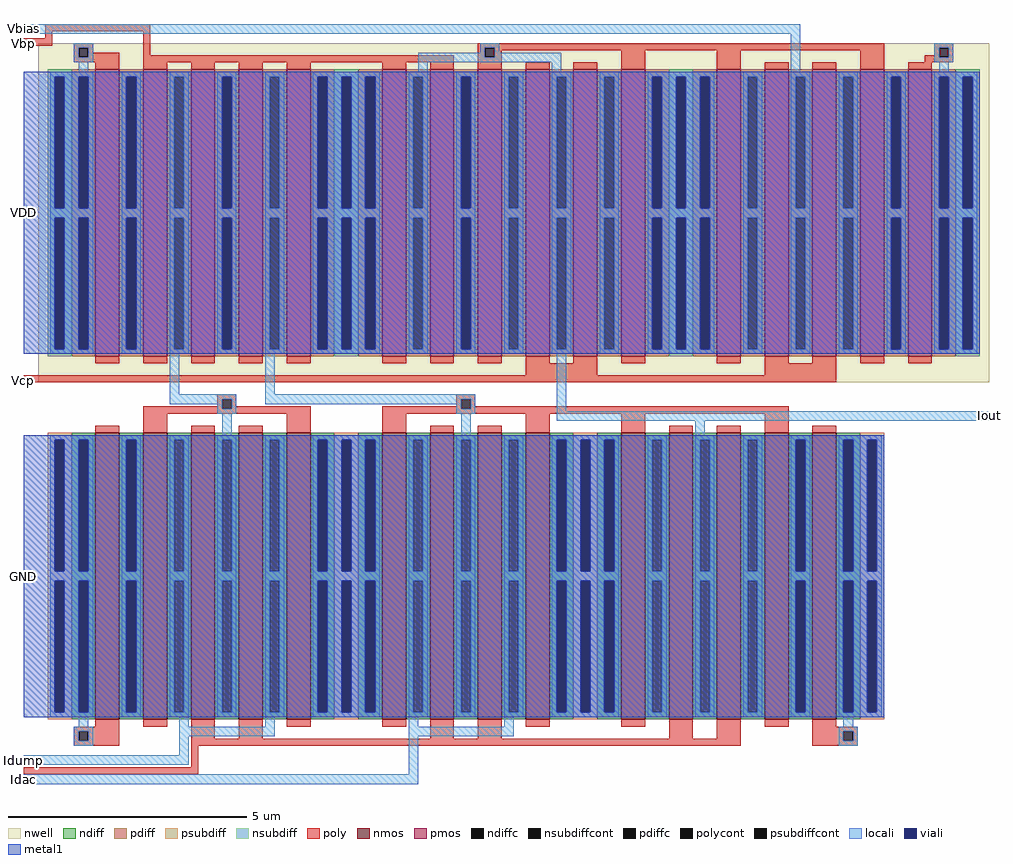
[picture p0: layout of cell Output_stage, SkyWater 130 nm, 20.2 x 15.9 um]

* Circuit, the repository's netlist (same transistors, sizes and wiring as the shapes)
* NGSPICE file created from Output_stage.ext - technology: sky130A


X0 a_2320_n30# a_720_1490# GND GND sky130_fd_pr__nfet_01v8 ad=1.5 pd=6.5 as=3 ps=13 w=6 l=0.5
X1 Idac Vbn a_720_1490# GND sky130_fd_pr__nfet_01v8 ad=1.5 pd=6.5 as=1.5 ps=6.5 w=6 l=0.5
X2 GND GND GND GND sky130_fd_pr__nfet_01v8 ad=3 pd=13 as=24 ps=104 w=6 l=0.5
X3 a_3120_1490# Vcp Vbias VDD sky130_fd_pr__pfet_01v8 ad=1.5 pd=6.5 as=1.5 ps=6.5 w=6 l=0.5
X4 Idump a_220_n60# GND GND sky130_fd_pr__nfet_01v8 ad=1.5 pd=6.5 as=1.5 ps=6.5 w=6 l=0.5
X5 VDD VDD VDD VDD sky130_fd_pr__pfet_01v8 ad=1.5 pd=6.5 as=30 ps=130 w=6 l=0.5
X6 GND a_720_1490# a_2720_n30# GND sky130_fd_pr__nfet_01v8 ad=1.5 pd=6.5 as=1.5 ps=6.5 w=6 l=0.5
X7 a_2120_1490# Vcp Iout VDD sky130_fd_pr__pfet_01v8 ad=1.5 pd=6.5 as=1.5 ps=6.5 w=6 l=0.5
X8 Idac a_720_1490# GND GND sky130_fd_pr__nfet_01v8 ad=1.5 pd=6.5 as=3 ps=13 w=6 l=0.5
X9 a_220_n60# Vbp VDD VDD sky130_fd_pr__pfet_01v8 ad=1.5 pd=6.5 as=1.5 ps=6.5 w=6 l=0.5
X10 Vbias Vcp a_2720_1490# VDD sky130_fd_pr__pfet_01v8 ad=1.5 pd=6.5 as=1.5 ps=6.5 w=6 l=0.5
X11 a_720_1490# Vbp VDD VDD sky130_fd_pr__pfet_01v8 ad=1.5 pd=6.5 as=1.5 ps=6.5 w=6 l=0.5
X12 GND a_220_n60# Idump GND sky130_fd_pr__nfet_01v8 ad=3 pd=13 as=1.5 ps=6.5 w=6 l=0.5
X13 GND GND GND GND sky130_fd_pr__nfet_01v8 ad=1.5 pd=6.5 as=0 ps=0 w=6 l=0.5
X14 VDD Vbp Iout VDD sky130_fd_pr__pfet_01v8 ad=1.5 pd=6.5 as=1.5 ps=6.5 w=6 l=0.5
X15 Iout Vcp a_1720_1490# VDD sky130_fd_pr__pfet_01v8 ad=1.5 pd=6.5 as=1.5 ps=6.5 w=6 l=0.5
X16 Iout Vbn a_2320_n30# GND sky130_fd_pr__nfet_01v8 ad=1.5 pd=6.5 as=1.5 ps=6.5 w=6 l=0.5
X17 GND a_720_1490# Idac GND sky130_fd_pr__nfet_01v8 ad=3 pd=13 as=1.5 ps=6.5 w=6 l=0.5
X18 VDD VDD VDD VDD sky130_fd_pr__pfet_01v8 ad=3 pd=13 as=0 ps=0 w=6 l=0.5
X19 a_220_n60# Vbn Idump GND sky130_fd_pr__nfet_01v8 ad=1.5 pd=6.5 as=1.5 ps=6.5 w=6 l=0.5
X20 a_720_1490# Vbn Idac GND sky130_fd_pr__nfet_01v8 ad=1.5 pd=6.5 as=1.5 ps=6.5 w=6 l=0.5
X21 VDD Iout a_3120_1490# VDD sky130_fd_pr__pfet_01v8 ad=1.5 pd=6.5 as=1.5 ps=6.5 w=6 l=0.5
X22 VDD Iout a_2120_1490# VDD sky130_fd_pr__pfet_01v8 ad=3 pd=13 as=1.5 ps=6.5 w=6 l=0.5
X23 a_2720_1490# Iout VDD VDD sky130_fd_pr__pfet_01v8 ad=1.5 pd=6.5 as=3 ps=13 w=6 l=0.5
X24 a_2720_n30# Vbn Iout GND sky130_fd_pr__nfet_01v8 ad=1.5 pd=6.5 as=1.5 ps=6.5 w=6 l=0.5
X25 VDD Vbp a_220_n60# VDD sky130_fd_pr__pfet_01v8 ad=1.5 pd=6.5 as=1.5 ps=6.5 w=6 l=0.5
X26 VDD Vbp a_720_1490# VDD sky130_fd_pr__pfet_01v8 ad=3 pd=13 as=1.5 ps=6.5 w=6 l=0.5
X27 Iout Vbp VDD VDD sky130_fd_pr__pfet_01v8 ad=1.5 pd=6.5 as=3 ps=13 w=6 l=0.5
X28 a_1720_1490# Iout VDD VDD sky130_fd_pr__pfet_01v8 ad=1.5 pd=6.5 as=1.5 ps=6.5 w=6 l=0.5
X29 Idump Vbn a_220_n60# GND sky130_fd_pr__nfet_01v8 ad=1.5 pd=6.5 as=1.5 ps=6.5 w=6 l=0.5

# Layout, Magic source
magic
tech sky130A
<< nwell >>
rect -110 690 1880 1400
<< nmos >>
rect 10 -15 60 585
rect 110 -15 160 585
rect 210 -15 260 585
rect 310 -15 360 585
rect 410 -15 460 585
rect 610 -15 660 585
rect 710 -15 760 585
rect 810 -15 860 585
rect 910 -15 960 585
rect 1110 -15 1160 585
rect 1210 -15 1260 585
rect 1310 -15 1360 585
rect 1410 -15 1460 585
rect 1510 -15 1560 585
<< pmos >>
rect 10 745 60 1345
rect 110 745 160 1345
rect 210 745 260 1345
rect 310 745 360 1345
rect 410 745 460 1345
rect 610 745 660 1345
rect 710 745 760 1345
rect 810 745 860 1345
rect 910 745 960 1345
rect 1010 745 1060 1345
rect 1110 745 1160 1345
rect 1310 745 1360 1345
rect 1410 745 1460 1345
rect 1510 745 1560 1345
rect 1610 745 1660 1345
rect 1710 745 1760 1345
<< ndiff >>
rect -40 570 10 585
rect -40 295 -25 570
rect -5 295 10 570
rect -40 275 10 295
rect -40 0 -25 275
rect -5 0 10 275
rect -40 -15 10 0
rect 60 570 110 585
rect 60 295 75 570
rect 95 295 110 570
rect 60 275 110 295
rect 60 0 75 275
rect 95 0 110 275
rect 60 -15 110 0
rect 160 570 210 585
rect 160 295 175 570
rect 195 295 210 570
rect 160 275 210 295
rect 160 0 175 275
rect 195 0 210 275
rect 160 -15 210 0
rect 260 570 310 585
rect 260 295 275 570
rect 295 295 310 570
rect 260 275 310 295
rect 260 0 275 275
rect 295 0 310 275
rect 260 -15 310 0
rect 360 570 410 585
rect 360 295 375 570
rect 395 295 410 570
rect 360 275 410 295
rect 360 0 375 275
rect 395 0 410 275
rect 360 -15 410 0
rect 460 570 510 585
rect 560 570 610 585
rect 460 295 475 570
rect 495 295 510 570
rect 560 295 575 570
rect 595 295 610 570
rect 460 275 510 295
rect 560 275 610 295
rect 460 0 475 275
rect 495 0 510 275
rect 560 0 575 275
rect 595 0 610 275
rect 460 -15 510 0
rect 560 -15 610 0
rect 660 570 710 585
rect 660 295 675 570
rect 695 295 710 570
rect 660 275 710 295
rect 660 0 675 275
rect 695 0 710 275
rect 660 -15 710 0
rect 760 570 810 585
rect 760 295 775 570
rect 795 295 810 570
rect 760 275 810 295
rect 760 0 775 275
rect 795 0 810 275
rect 760 -15 810 0
rect 860 570 910 585
rect 860 295 875 570
rect 895 295 910 570
rect 860 275 910 295
rect 860 0 875 275
rect 895 0 910 275
rect 860 -15 910 0
rect 960 570 1010 585
rect 1060 570 1110 585
rect 960 295 975 570
rect 995 295 1010 570
rect 1060 295 1075 570
rect 1095 295 1110 570
rect 960 275 1010 295
rect 1060 275 1110 295
rect 960 0 975 275
rect 995 0 1010 275
rect 1060 0 1075 275
rect 1095 0 1110 275
rect 960 -15 1010 0
rect 1060 -15 1110 0
rect 1160 570 1210 585
rect 1160 295 1175 570
rect 1195 295 1210 570
rect 1160 275 1210 295
rect 1160 0 1175 275
rect 1195 0 1210 275
rect 1160 -15 1210 0
rect 1260 570 1310 585
rect 1260 295 1275 570
rect 1295 295 1310 570
rect 1260 275 1310 295
rect 1260 0 1275 275
rect 1295 0 1310 275
rect 1260 -15 1310 0
rect 1360 570 1410 585
rect 1360 295 1375 570
rect 1395 295 1410 570
rect 1360 275 1410 295
rect 1360 0 1375 275
rect 1395 0 1410 275
rect 1360 -15 1410 0
rect 1460 570 1510 585
rect 1460 295 1475 570
rect 1495 295 1510 570
rect 1460 275 1510 295
rect 1460 0 1475 275
rect 1495 0 1510 275
rect 1460 -15 1510 0
rect 1560 570 1610 585
rect 1560 295 1575 570
rect 1595 295 1610 570
rect 1560 275 1610 295
rect 1560 0 1575 275
rect 1595 0 1610 275
rect 1560 -15 1610 0
<< pdiff >>
rect -40 1330 10 1345
rect -40 1055 -25 1330
rect -5 1055 10 1330
rect -40 1035 10 1055
rect -40 760 -25 1035
rect -5 760 10 1035
rect -40 745 10 760
rect 60 1330 110 1345
rect 60 1055 75 1330
rect 95 1055 110 1330
rect 60 1035 110 1055
rect 60 760 75 1035
rect 95 760 110 1035
rect 60 745 110 760
rect 160 1330 210 1345
rect 160 1055 175 1330
rect 195 1055 210 1330
rect 160 1035 210 1055
rect 160 760 175 1035
rect 195 760 210 1035
rect 160 745 210 760
rect 260 1330 310 1345
rect 260 1055 275 1330
rect 295 1055 310 1330
rect 260 1035 310 1055
rect 260 760 275 1035
rect 295 760 310 1035
rect 260 745 310 760
rect 360 1330 410 1345
rect 360 1055 375 1330
rect 395 1055 410 1330
rect 360 1035 410 1055
rect 360 760 375 1035
rect 395 760 410 1035
rect 360 745 410 760
rect 460 1330 510 1345
rect 560 1330 610 1345
rect 460 1055 475 1330
rect 495 1055 510 1330
rect 560 1055 575 1330
rect 595 1055 610 1330
rect 460 1035 510 1055
rect 560 1035 610 1055
rect 460 760 475 1035
rect 495 760 510 1035
rect 560 760 575 1035
rect 595 760 610 1035
rect 460 745 510 760
rect 560 745 610 760
rect 660 1330 710 1345
rect 660 1055 675 1330
rect 695 1055 710 1330
rect 660 1035 710 1055
rect 660 760 675 1035
rect 695 760 710 1035
rect 660 745 710 760
rect 760 1330 810 1345
rect 760 1055 775 1330
rect 795 1055 810 1330
rect 760 1035 810 1055
rect 760 760 775 1035
rect 795 760 810 1035
rect 760 745 810 760
rect 860 1330 910 1345
rect 860 1055 875 1330
rect 895 1055 910 1330
rect 860 1035 910 1055
rect 860 760 875 1035
rect 895 760 910 1035
rect 860 745 910 760
rect 960 1330 1010 1345
rect 960 1055 975 1330
rect 995 1055 1010 1330
rect 960 1035 1010 1055
rect 960 760 975 1035
rect 995 760 1010 1035
rect 960 745 1010 760
rect 1060 1330 1110 1345
rect 1060 1055 1075 1330
rect 1095 1055 1110 1330
rect 1060 1035 1110 1055
rect 1060 760 1075 1035
rect 1095 760 1110 1035
rect 1060 745 1110 760
rect 1160 1330 1210 1345
rect 1260 1330 1310 1345
rect 1160 1055 1175 1330
rect 1195 1055 1210 1330
rect 1260 1055 1275 1330
rect 1295 1055 1310 1330
rect 1160 1035 1210 1055
rect 1260 1035 1310 1055
rect 1160 760 1175 1035
rect 1195 760 1210 1035
rect 1260 760 1275 1035
rect 1295 760 1310 1035
rect 1160 745 1210 760
rect 1260 745 1310 760
rect 1360 1330 1410 1345
rect 1360 1055 1375 1330
rect 1395 1055 1410 1330
rect 1360 1035 1410 1055
rect 1360 760 1375 1035
rect 1395 760 1410 1035
rect 1360 745 1410 760
rect 1460 1330 1510 1345
rect 1460 1055 1475 1330
rect 1495 1055 1510 1330
rect 1460 1035 1510 1055
rect 1460 760 1475 1035
rect 1495 760 1510 1035
rect 1460 745 1510 760
rect 1560 1330 1610 1345
rect 1560 1055 1575 1330
rect 1595 1055 1610 1330
rect 1560 1035 1610 1055
rect 1560 760 1575 1035
rect 1595 760 1610 1035
rect 1560 745 1610 760
rect 1660 1330 1710 1345
rect 1660 1055 1675 1330
rect 1695 1055 1710 1330
rect 1660 1035 1710 1055
rect 1660 760 1675 1035
rect 1695 760 1710 1035
rect 1660 745 1710 760
rect 1760 1330 1810 1345
rect 1760 1055 1775 1330
rect 1795 1055 1810 1330
rect 1760 1035 1810 1055
rect 1760 760 1775 1035
rect 1795 760 1810 1035
rect 1760 745 1810 760
<< ndiffc >>
rect -25 295 -5 570
rect -25 0 -5 275
rect 75 295 95 570
rect 75 0 95 275
rect 175 295 195 570
rect 175 0 195 275
rect 275 295 295 570
rect 275 0 295 275
rect 375 295 395 570
rect 375 0 395 275
rect 475 295 495 570
rect 575 295 595 570
rect 475 0 495 275
rect 575 0 595 275
rect 675 295 695 570
rect 675 0 695 275
rect 775 295 795 570
rect 775 0 795 275
rect 875 295 895 570
rect 875 0 895 275
rect 975 295 995 570
rect 1075 295 1095 570
rect 975 0 995 275
rect 1075 0 1095 275
rect 1175 295 1195 570
rect 1175 0 1195 275
rect 1275 295 1295 570
rect 1275 0 1295 275
rect 1375 295 1395 570
rect 1375 0 1395 275
rect 1475 295 1495 570
rect 1475 0 1495 275
rect 1575 295 1595 570
rect 1575 0 1595 275
<< pdiffc >>
rect -25 1055 -5 1330
rect -25 760 -5 1035
rect 75 1055 95 1330
rect 75 760 95 1035
rect 175 1055 195 1330
rect 175 760 195 1035
rect 275 1055 295 1330
rect 275 760 295 1035
rect 375 1055 395 1330
rect 375 760 395 1035
rect 475 1055 495 1330
rect 575 1055 595 1330
rect 475 760 495 1035
rect 575 760 595 1035
rect 675 1055 695 1330
rect 675 760 695 1035
rect 775 1055 795 1330
rect 775 760 795 1035
rect 875 1055 895 1330
rect 875 760 895 1035
rect 975 1055 995 1330
rect 975 760 995 1035
rect 1075 1055 1095 1330
rect 1075 760 1095 1035
rect 1175 1055 1195 1330
rect 1275 1055 1295 1330
rect 1175 760 1195 1035
rect 1275 760 1295 1035
rect 1375 1055 1395 1330
rect 1375 760 1395 1035
rect 1475 1055 1495 1330
rect 1475 760 1495 1035
rect 1575 1055 1595 1330
rect 1575 760 1595 1035
rect 1675 1055 1695 1330
rect 1675 760 1695 1035
rect 1775 1055 1795 1330
rect 1775 760 1795 1035
<< psubdiff >>
rect -90 570 -40 585
rect -90 295 -75 570
rect -55 295 -40 570
rect -90 275 -40 295
rect -90 0 -75 275
rect -55 0 -40 275
rect -90 -15 -40 0
rect 510 570 560 585
rect 510 295 525 570
rect 545 295 560 570
rect 510 275 560 295
rect 510 0 525 275
rect 545 0 560 275
rect 510 -15 560 0
rect 1010 570 1060 585
rect 1010 295 1025 570
rect 1045 295 1060 570
rect 1010 275 1060 295
rect 1010 0 1025 275
rect 1045 0 1060 275
rect 1010 -15 1060 0
rect 1610 570 1660 585
rect 1610 295 1625 570
rect 1645 295 1660 570
rect 1610 275 1660 295
rect 1610 0 1625 275
rect 1645 0 1660 275
rect 1610 -15 1660 0
<< nsubdiff >>
rect -90 1330 -40 1345
rect -90 1055 -75 1330
rect -55 1055 -40 1330
rect -90 1035 -40 1055
rect -90 760 -75 1035
rect -55 760 -40 1035
rect -90 745 -40 760
rect 510 1330 560 1345
rect 510 1055 525 1330
rect 545 1055 560 1330
rect 510 1035 560 1055
rect 510 760 525 1035
rect 545 760 560 1035
rect 510 745 560 760
rect 1210 1330 1260 1345
rect 1210 1055 1225 1330
rect 1245 1055 1260 1330
rect 1210 1035 1260 1055
rect 1210 760 1225 1035
rect 1245 760 1260 1035
rect 1210 745 1260 760
rect 1810 1330 1860 1345
rect 1810 1055 1825 1330
rect 1845 1055 1860 1330
rect 1810 1035 1860 1055
rect 1810 760 1825 1035
rect 1845 760 1860 1035
rect 1810 745 1860 760
<< psubdiffcont >>
rect -75 295 -55 570
rect -75 0 -55 275
rect 525 295 545 570
rect 525 0 545 275
rect 1025 295 1045 570
rect 1025 0 1045 275
rect 1625 295 1645 570
rect 1625 0 1645 275
<< nsubdiffcont >>
rect -75 1055 -55 1330
rect -75 760 -55 1035
rect 525 1055 545 1330
rect 525 760 545 1035
rect 1225 1055 1245 1330
rect 1225 760 1245 1035
rect 1825 1055 1845 1330
rect 1825 760 1845 1035
<< poly >>
rect -95 1425 125 1440
rect -95 1410 -80 1425
rect -140 1395 -80 1410
rect -35 1390 5 1400
rect -35 1370 -25 1390
rect -5 1380 5 1390
rect -5 1370 60 1380
rect -35 1360 60 1370
rect 10 1345 60 1360
rect 110 1375 125 1425
rect 810 1390 1660 1400
rect 110 1360 760 1375
rect 110 1345 160 1360
rect 210 1345 260 1360
rect 310 1345 360 1360
rect 410 1345 460 1360
rect 610 1345 660 1360
rect 710 1345 760 1360
rect 810 1370 825 1390
rect 845 1385 1660 1390
rect 845 1370 860 1385
rect 810 1345 860 1370
rect 910 1345 960 1360
rect 1010 1345 1060 1360
rect 1110 1345 1160 1385
rect 1310 1345 1360 1385
rect 1410 1345 1460 1360
rect 1510 1345 1560 1360
rect 1610 1345 1660 1385
rect 1765 1390 1805 1400
rect 1765 1375 1775 1390
rect 1745 1370 1775 1375
rect 1795 1370 1805 1390
rect 1745 1360 1805 1370
rect 1710 1345 1760 1360
rect 10 730 60 745
rect 110 730 160 745
rect 210 730 260 745
rect 310 730 360 745
rect 410 730 460 745
rect 610 730 660 745
rect 710 730 760 745
rect 810 730 860 745
rect 910 730 960 745
rect 1010 730 1060 745
rect 1110 730 1160 745
rect 1310 730 1360 745
rect 1410 730 1460 745
rect 1510 730 1560 745
rect 1610 730 1660 745
rect 1710 730 1760 745
rect 910 705 1060 730
rect 1410 705 1560 730
rect -140 690 1560 705
rect 265 655 305 665
rect 265 640 275 655
rect 110 635 275 640
rect 295 640 305 655
rect 765 655 805 665
rect 765 640 775 655
rect 295 635 460 640
rect 110 625 460 635
rect 10 585 60 600
rect 110 585 160 625
rect 210 585 260 600
rect 310 585 360 600
rect 410 585 460 625
rect 610 635 775 640
rect 795 640 805 655
rect 795 635 1460 640
rect 610 625 1460 635
rect 610 585 660 625
rect 710 585 760 600
rect 810 585 860 600
rect 910 585 960 625
rect 1110 585 1160 625
rect 1210 585 1260 600
rect 1310 585 1360 600
rect 1410 585 1460 625
rect 1510 585 1560 600
rect 10 -30 60 -15
rect 110 -30 160 -15
rect -35 -40 60 -30
rect -35 -60 -25 -40
rect -5 -60 60 -40
rect -35 -70 60 -60
rect 210 -55 260 -15
rect 310 -55 360 -15
rect 410 -30 460 -15
rect 610 -30 660 -15
rect 710 -55 760 -15
rect 810 -55 860 -15
rect 910 -30 960 -15
rect 1110 -30 1160 -15
rect 1210 -55 1260 -15
rect 1310 -55 1360 -15
rect 1410 -30 1460 -15
rect 1510 -30 1560 -15
rect 210 -70 1360 -55
rect 1510 -40 1605 -30
rect 1510 -60 1575 -40
rect 1595 -60 1605 -40
rect 1510 -70 1605 -60
rect 210 -115 225 -70
rect -140 -130 225 -115
<< polycont >>
rect -25 1370 -5 1390
rect 825 1370 845 1390
rect 1775 1370 1795 1390
rect 275 635 295 655
rect 775 635 795 655
rect -25 -60 -5 -40
rect 1575 -60 1595 -40
<< locali >>
rect -140 1420 1485 1440
rect -35 1390 5 1400
rect -35 1370 -25 1390
rect -5 1370 5 1390
rect 815 1390 855 1400
rect 815 1380 825 1390
rect -35 1360 5 1370
rect 685 1370 825 1380
rect 845 1380 855 1390
rect 845 1370 985 1380
rect 685 1360 985 1370
rect -25 1340 -5 1360
rect 685 1340 705 1360
rect 965 1340 985 1360
rect 1465 1340 1485 1420
rect 1765 1390 1805 1400
rect 1765 1370 1775 1390
rect 1795 1370 1805 1390
rect 1765 1360 1805 1370
rect 1775 1340 1795 1360
rect -85 1330 5 1340
rect -85 1055 -75 1330
rect -55 1055 -25 1330
rect -5 1055 5 1330
rect -85 1035 5 1055
rect -85 760 -75 1035
rect -55 760 -25 1035
rect -5 760 5 1035
rect -85 750 5 760
rect 65 1330 105 1340
rect 65 1055 75 1330
rect 95 1055 105 1330
rect 65 1035 105 1055
rect 65 760 75 1035
rect 95 760 105 1035
rect 65 750 105 760
rect 165 1330 205 1340
rect 165 1055 175 1330
rect 195 1055 205 1330
rect 165 1035 205 1055
rect 165 760 175 1035
rect 195 760 205 1035
rect 165 750 205 760
rect 265 1330 305 1340
rect 265 1055 275 1330
rect 295 1055 305 1330
rect 265 1035 305 1055
rect 265 760 275 1035
rect 295 760 305 1035
rect 265 750 305 760
rect 365 1330 405 1340
rect 365 1055 375 1330
rect 395 1055 405 1330
rect 365 1035 405 1055
rect 365 760 375 1035
rect 395 760 405 1035
rect 365 750 405 760
rect 465 1330 605 1340
rect 465 1055 475 1330
rect 495 1055 525 1330
rect 545 1055 575 1330
rect 595 1055 605 1330
rect 465 1035 605 1055
rect 465 760 475 1035
rect 495 760 525 1035
rect 545 760 575 1035
rect 595 760 605 1035
rect 465 750 605 760
rect 665 1330 705 1340
rect 665 1055 675 1330
rect 695 1055 705 1330
rect 665 1035 705 1055
rect 665 760 675 1035
rect 695 760 705 1035
rect 665 750 705 760
rect 765 1330 805 1340
rect 765 1055 775 1330
rect 795 1055 805 1330
rect 765 1035 805 1055
rect 765 760 775 1035
rect 795 760 805 1035
rect 765 750 805 760
rect 865 1330 905 1340
rect 865 1055 875 1330
rect 895 1055 905 1330
rect 865 1035 905 1055
rect 865 760 875 1035
rect 895 760 905 1035
rect 865 750 905 760
rect 965 1330 1005 1340
rect 965 1055 975 1330
rect 995 1055 1005 1330
rect 965 1035 1005 1055
rect 965 760 975 1035
rect 995 760 1005 1035
rect 965 750 1005 760
rect 1065 1330 1105 1340
rect 1065 1055 1075 1330
rect 1095 1055 1105 1330
rect 1065 1035 1105 1055
rect 1065 760 1075 1035
rect 1095 760 1105 1035
rect 1065 750 1105 760
rect 1165 1330 1305 1340
rect 1165 1055 1175 1330
rect 1195 1055 1225 1330
rect 1245 1055 1275 1330
rect 1295 1055 1305 1330
rect 1165 1035 1305 1055
rect 1165 760 1175 1035
rect 1195 760 1225 1035
rect 1245 760 1275 1035
rect 1295 760 1305 1035
rect 1165 750 1305 760
rect 1365 1330 1405 1340
rect 1365 1055 1375 1330
rect 1395 1055 1405 1330
rect 1365 1035 1405 1055
rect 1365 760 1375 1035
rect 1395 760 1405 1035
rect 1365 750 1405 760
rect 1465 1330 1505 1340
rect 1465 1055 1475 1330
rect 1495 1055 1505 1330
rect 1465 1035 1505 1055
rect 1465 760 1475 1035
rect 1495 760 1505 1035
rect 1465 750 1505 760
rect 1565 1330 1605 1340
rect 1565 1055 1575 1330
rect 1595 1055 1605 1330
rect 1565 1035 1605 1055
rect 1565 760 1575 1035
rect 1595 760 1605 1035
rect 1565 750 1605 760
rect 1665 1330 1705 1340
rect 1665 1055 1675 1330
rect 1695 1055 1705 1330
rect 1665 1035 1705 1055
rect 1665 760 1675 1035
rect 1695 760 1705 1035
rect 1665 750 1705 760
rect 1765 1330 1855 1340
rect 1765 1055 1775 1330
rect 1795 1055 1825 1330
rect 1845 1055 1855 1330
rect 1765 1035 1855 1055
rect 1765 760 1775 1035
rect 1795 760 1825 1035
rect 1845 760 1855 1035
rect 1765 750 1855 760
rect 165 665 185 750
rect 365 665 385 750
rect 165 655 305 665
rect 165 645 275 655
rect 265 635 275 645
rect 295 635 305 655
rect 365 655 805 665
rect 365 645 775 655
rect 265 625 305 635
rect 765 635 775 645
rect 795 635 805 655
rect 765 625 805 635
rect 975 630 995 750
rect 275 580 295 625
rect 775 580 795 625
rect 975 610 1880 630
rect 1265 580 1285 610
rect -85 570 5 580
rect -85 295 -75 570
rect -55 295 -25 570
rect -5 295 5 570
rect -85 275 5 295
rect -85 0 -75 275
rect -55 0 -25 275
rect -5 0 5 275
rect -85 -10 5 0
rect 65 570 105 580
rect 65 295 75 570
rect 95 295 105 570
rect 65 275 105 295
rect 65 0 75 275
rect 95 0 105 275
rect 65 -10 105 0
rect 165 570 205 580
rect 165 295 175 570
rect 195 295 205 570
rect 165 275 205 295
rect 165 0 175 275
rect 195 0 205 275
rect 165 -10 205 0
rect 265 570 305 580
rect 265 295 275 570
rect 295 295 305 570
rect 265 275 305 295
rect 265 0 275 275
rect 295 0 305 275
rect 265 -10 305 0
rect 365 570 405 580
rect 365 295 375 570
rect 395 295 405 570
rect 365 275 405 295
rect 365 0 375 275
rect 395 0 405 275
rect 365 -10 405 0
rect 465 570 605 580
rect 465 295 475 570
rect 495 295 525 570
rect 545 295 575 570
rect 595 295 605 570
rect 465 275 605 295
rect 465 0 475 275
rect 495 0 525 275
rect 545 0 575 275
rect 595 0 605 275
rect 465 -10 605 0
rect 665 570 705 580
rect 665 295 675 570
rect 695 295 705 570
rect 665 275 705 295
rect 665 0 675 275
rect 695 0 705 275
rect 665 -10 705 0
rect 765 570 805 580
rect 765 295 775 570
rect 795 295 805 570
rect 765 275 805 295
rect 765 0 775 275
rect 795 0 805 275
rect 765 -10 805 0
rect 865 570 905 580
rect 865 295 875 570
rect 895 295 905 570
rect 865 275 905 295
rect 865 0 875 275
rect 895 0 905 275
rect 865 -10 905 0
rect 965 570 1105 580
rect 965 295 975 570
rect 995 295 1025 570
rect 1045 295 1075 570
rect 1095 295 1105 570
rect 965 275 1105 295
rect 965 0 975 275
rect 995 0 1025 275
rect 1045 0 1075 275
rect 1095 0 1105 275
rect 965 -10 1105 0
rect 1165 570 1205 580
rect 1165 295 1175 570
rect 1195 295 1205 570
rect 1165 275 1205 295
rect 1165 0 1175 275
rect 1195 0 1205 275
rect 1165 -10 1205 0
rect 1265 570 1305 580
rect 1265 295 1275 570
rect 1295 295 1305 570
rect 1265 275 1305 295
rect 1265 0 1275 275
rect 1295 0 1305 275
rect 1265 -10 1305 0
rect 1365 570 1405 580
rect 1365 295 1375 570
rect 1395 295 1405 570
rect 1365 275 1405 295
rect 1365 0 1375 275
rect 1395 0 1405 275
rect 1365 -10 1405 0
rect 1465 570 1505 580
rect 1465 295 1475 570
rect 1495 295 1505 570
rect 1465 275 1505 295
rect 1465 0 1475 275
rect 1495 0 1505 275
rect 1465 -10 1505 0
rect 1565 570 1655 580
rect 1565 295 1575 570
rect 1595 295 1625 570
rect 1645 295 1655 570
rect 1565 275 1655 295
rect 1565 0 1575 275
rect 1595 0 1625 275
rect 1645 0 1655 275
rect 1565 -10 1655 0
rect -25 -30 -5 -10
rect 185 -30 205 -10
rect 365 -30 385 -10
rect -35 -40 5 -30
rect -35 -60 -25 -40
rect -5 -60 5 -40
rect -35 -70 5 -60
rect 185 -50 385 -30
rect 665 -30 685 -10
rect 865 -30 885 -10
rect 1575 -30 1595 -10
rect 665 -50 885 -30
rect 1565 -40 1605 -30
rect 185 -90 205 -50
rect -140 -110 205 -90
rect 665 -130 685 -50
rect 1565 -60 1575 -40
rect 1595 -60 1605 -40
rect 1565 -70 1605 -60
rect -140 -150 685 -130
<< viali >>
rect -75 1055 -55 1330
rect -25 1055 -5 1330
rect -75 760 -55 1035
rect -25 760 -5 1035
rect 75 1055 95 1330
rect 75 760 95 1035
rect 275 1055 295 1330
rect 275 760 295 1035
rect 475 1055 495 1330
rect 525 1055 545 1330
rect 575 1055 595 1330
rect 475 760 495 1035
rect 525 760 545 1035
rect 575 760 595 1035
rect 775 1055 795 1330
rect 775 760 795 1035
rect 1175 1055 1195 1330
rect 1225 1055 1245 1330
rect 1275 1055 1295 1330
rect 1175 760 1195 1035
rect 1225 760 1245 1035
rect 1275 760 1295 1035
rect 1675 1055 1695 1330
rect 1675 760 1695 1035
rect 1775 1055 1795 1330
rect 1825 1055 1845 1330
rect 1775 760 1795 1035
rect 1825 760 1845 1035
rect -75 295 -55 570
rect -25 295 -5 570
rect -75 0 -55 275
rect -25 0 -5 275
rect 75 295 95 570
rect 75 0 95 275
rect 475 295 495 570
rect 525 295 545 570
rect 575 295 595 570
rect 475 0 495 275
rect 525 0 545 275
rect 575 0 595 275
rect 975 295 995 570
rect 1025 295 1045 570
rect 1075 295 1095 570
rect 975 0 995 275
rect 1025 0 1045 275
rect 1075 0 1095 275
rect 1475 295 1495 570
rect 1475 0 1495 275
rect 1575 295 1595 570
rect 1625 295 1645 570
rect 1575 0 1595 275
rect 1625 0 1645 275
<< metal1 >>
rect -140 1330 1860 1340
rect -140 1055 -75 1330
rect -55 1055 -25 1330
rect -5 1055 75 1330
rect 95 1055 275 1330
rect 295 1055 475 1330
rect 495 1055 525 1330
rect 545 1055 575 1330
rect 595 1055 775 1330
rect 795 1055 1175 1330
rect 1195 1055 1225 1330
rect 1245 1055 1275 1330
rect 1295 1055 1675 1330
rect 1695 1055 1775 1330
rect 1795 1055 1825 1330
rect 1845 1055 1860 1330
rect -140 1035 1860 1055
rect -140 760 -75 1035
rect -55 760 -25 1035
rect -5 760 75 1035
rect 95 760 275 1035
rect 295 760 475 1035
rect 495 760 525 1035
rect 545 760 575 1035
rect 595 760 775 1035
rect 795 760 1175 1035
rect 1195 760 1225 1035
rect 1245 760 1275 1035
rect 1295 760 1675 1035
rect 1695 760 1775 1035
rect 1795 760 1825 1035
rect 1845 760 1860 1035
rect -140 750 1860 760
rect -140 570 1660 580
rect -140 295 -75 570
rect -55 295 -25 570
rect -5 295 75 570
rect 95 295 475 570
rect 495 295 525 570
rect 545 295 575 570
rect 595 295 975 570
rect 995 295 1025 570
rect 1045 295 1075 570
rect 1095 295 1475 570
rect 1495 295 1575 570
rect 1595 295 1625 570
rect 1645 295 1660 570
rect -140 275 1660 295
rect -140 0 -75 275
rect -55 0 -25 275
rect -5 0 75 275
rect 95 0 475 275
rect 495 0 525 275
rect 545 0 575 275
rect 595 0 975 275
rect 995 0 1025 275
rect 1045 0 1075 275
rect 1095 0 1475 275
rect 1495 0 1575 275
rect 1595 0 1625 275
rect 1645 0 1660 275
rect -140 -10 1660 0
<< labels >>
flabel locali -140 1430 -140 1430 7 FreeSans 160 0 0 0 Vbias
port 1 w
flabel metal1 -140 1045 -140 1045 7 FreeSans 160 0 0 0 VDD
port 2 w
flabel poly -140 1400 -140 1400 7 FreeSans 160 0 0 0 Vbp
port 7 w
flabel locali 1880 620 1880 620 3 FreeSans 160 0 0 0 Iout
port 6 e
flabel locali -140 -140 -140 -140 7 FreeSans 160 0 0 0 Idac
port 5 w
flabel locali -140 -100 -140 -100 7 FreeSans 160 0 0 0 Idump
port 4 w
flabel metal1 -140 285 -140 285 7 FreeSans 160 0 0 0 GND
port 3 w
flabel poly -140 695 -140 695 7 FreeSans 160 0 0 0 Vcp
port 8 w
flabel poly -140 -125 -140 -125 7 FreeSans 160 0 0 0 Vbn
port 9 w
<< end >>
